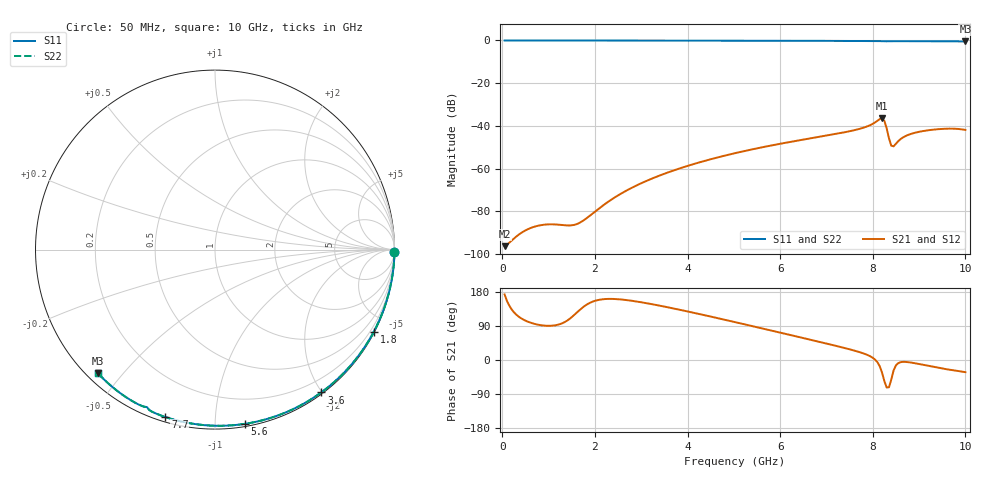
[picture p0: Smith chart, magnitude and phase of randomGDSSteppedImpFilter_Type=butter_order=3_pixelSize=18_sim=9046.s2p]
! freq	dB(S11)	phase(S11)	dB(S12)	phase(S12)
!  dB(S21)	phase(S21)	dB(S22)	phase(S22)
!S-par simulation data
#  GHz  S  DB  R 50
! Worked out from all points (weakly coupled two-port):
!   200 points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, 50 MHz to 10 GHz, reference 50 ohm
!   highest |S21| = -36.45 dB at 8.2 GHz (marker M1); lowest = -96.3 dB at 50 MHz (marker M2)
!   lowest |S11| = -0.5 dB at 10 GHz (marker M3), VSWR 37.72, Z = 1.57 - j21.5 ohm
!   |S11| at or under -10 dB: nowhere
!   |S22| runs from -0.5 to 0.0 dB; largest |S21 - S12| = 0
!   S11 on the Smith chart (normalised r, x): 50 MHz: open; 1.8 GHz: 0.04, -4.12; 3.6 GHz: 0.02, -1.99; 5.6 GHz: 0.02, -1.19; 7.7 GHz: 0.02, -0.75; 10 GHz: 0.03, -0.43
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0.05  -0.00 -0.8  -96.33 173.0  -96.33 173.0  -0.00 -0.8
1.75  -0.03 -26.5  -84.34 140.0  -84.34 140.0  -0.03 -26.5
1.8  -0.03 -27.3  -83.57 144.3  -83.57 144.3  -0.03 -27.3
2  -0.04 -30.2  -80.17 156.2  -80.17 156.2  -0.04 -30.2
2.65  -0.05 -39.8  -70.66 158.6  -70.66 158.6  -0.05 -39.8
3.4  -0.07 -50.5  -63.23 143.4  -63.23 143.4  -0.07 -50.5
3.6  -0.07 -53.3  -61.63 138.5  -61.63 138.5  -0.07 -53.3
5.05  -0.11 -73.1  -52.66 99.3  -52.66 99.3  -0.11 -73.1
5.6  -0.13 -80.3  -50.08 83.7  -50.08 83.7  -0.13 -80.3
6.7  -0.18 -94.2  -45.68 52.1  -45.68 52.1  -0.18 -94.2
7.7  -0.24 -106.5  -41.49 21.3  -41.49 21.3  -0.24 -106.5
7.95  -0.26 -109.6  -39.60 9.5  -39.60 9.5  -0.26 -109.6
8.2  -0.35 -112.9  -36.45 -33.2  -36.45 -33.2  -0.34 -112.9
8.25  -0.39 -113.2  -37.63 -55.6  -37.63 -55.6  -0.39 -113.2
8.3  -0.39 -113.5  -41.16 -72.4  -41.16 -72.4  -0.39 -113.5
8.35  -0.37 -113.9  -45.84 -72.0  -45.84 -72.0  -0.37 -113.9
8.4  -0.35 -114.5  -49.29 -51.7  -49.29 -51.7  -0.35 -114.5
8.45  -0.34 -115.1  -49.58 -27.5  -49.58 -27.5  -0.34 -115.1
8.65  -0.34 -117.5  -45.44 -4.9  -45.44 -4.9  -0.34 -117.5
8.95  -0.35 -121.1  -43.01 -9.4  -43.01 -9.4  -0.35 -121.1
9.55  -0.41 -128.1  -41.36 -23.5  -41.36 -23.5  -0.41 -128.1
10  -0.46 -133.5  -41.91 -32.2  -41.91 -32.2  -0.46 -133.5
